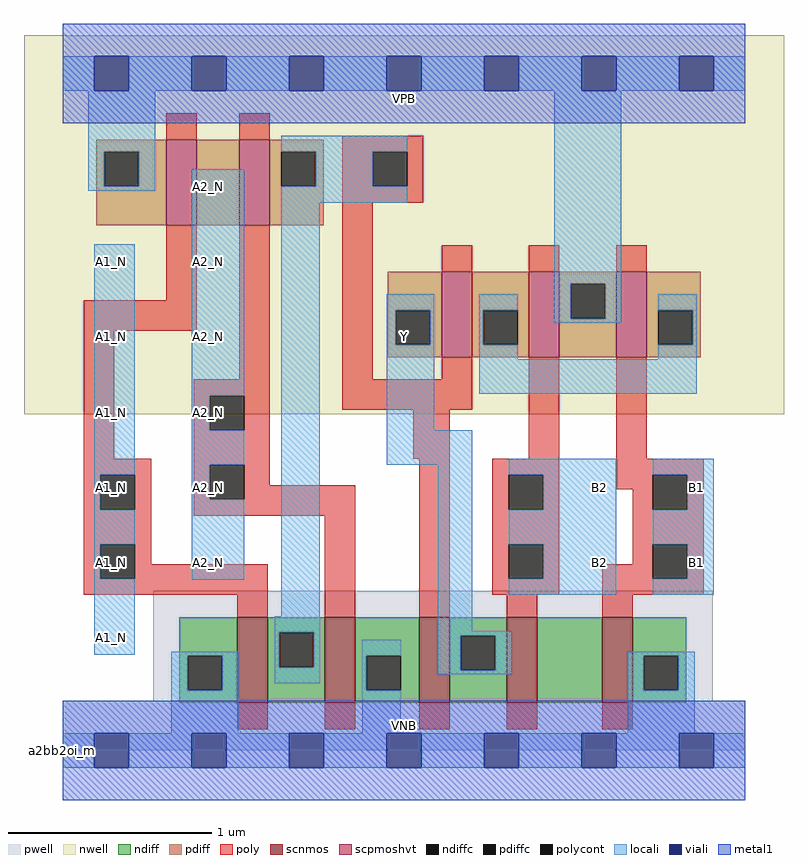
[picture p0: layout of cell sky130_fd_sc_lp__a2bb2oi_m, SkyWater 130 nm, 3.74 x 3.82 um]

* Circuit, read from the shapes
.subckt sky130_fd_sc_lp__a2bb2oi_m A1_N A2_N B1 B2 VGND VNB VPB VPWR Y
XM1 n1 A1_N VGND VNB sky130_fd_pr__nfet_01v8 w=0.42 l=0.15
XM2 VGND A2_N n1 VNB sky130_fd_pr__nfet_01v8 w=0.42 l=0.15
XM3 Y n1 VGND VNB sky130_fd_pr__nfet_01v8 w=0.42 l=0.15
XM4 n2 B2 Y VNB sky130_fd_pr__nfet_01v8 w=0.42 l=0.15
XM5 VGND B1 n2 VNB sky130_fd_pr__nfet_01v8 w=0.42 l=0.15
XM6 n3 A1_N VPWR VPB sky130_fd_pr__pfet_01v8_hvt w=0.42 l=0.15
XM7 n1 A2_N n3 VPB sky130_fd_pr__pfet_01v8_hvt w=0.42 l=0.15
XM8 n4 n1 Y VPB sky130_fd_pr__pfet_01v8_hvt w=0.42 l=0.15
XM9 VPWR B2 n4 VPB sky130_fd_pr__pfet_01v8_hvt w=0.42 l=0.15
XM10 n4 B1 VPWR VPB sky130_fd_pr__pfet_01v8_hvt w=0.42 l=0.15
.ends

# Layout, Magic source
magic
tech sky130A
magscale 1 2
<< nwell >>
rect -38 331 710 704
<< pwell >>
rect 89 49 640 157
rect 0 0 672 49
<< scnmos >>
rect 172 47 202 131
rect 258 47 288 131
rect 351 47 381 131
rect 437 47 467 131
rect 531 47 561 131
<< scpmoshvt >>
rect 102 517 132 601
rect 174 517 204 601
rect 373 387 403 471
rect 459 387 489 471
rect 545 387 575 471
<< ndiff >>
rect 115 93 172 131
rect 115 59 123 93
rect 157 59 172 93
rect 115 47 172 59
rect 202 116 258 131
rect 202 82 213 116
rect 247 82 258 116
rect 202 47 258 82
rect 288 93 351 131
rect 288 59 299 93
rect 333 59 351 93
rect 288 47 351 59
rect 381 113 437 131
rect 381 79 392 113
rect 426 79 437 113
rect 381 47 437 79
rect 467 47 531 131
rect 561 93 614 131
rect 561 59 572 93
rect 606 59 614 93
rect 561 47 614 59
<< pdiff >>
rect 33 589 102 601
rect 33 555 41 589
rect 75 555 102 589
rect 33 517 102 555
rect 132 517 174 601
rect 204 589 257 601
rect 204 555 215 589
rect 249 555 257 589
rect 204 517 257 555
rect 320 433 373 471
rect 320 399 328 433
rect 362 399 373 433
rect 320 387 373 399
rect 403 433 459 471
rect 403 399 414 433
rect 448 399 459 433
rect 403 387 459 399
rect 489 459 545 471
rect 489 425 500 459
rect 534 425 545 459
rect 489 387 545 425
rect 575 433 628 471
rect 575 399 586 433
rect 620 399 628 433
rect 575 387 628 399
<< ndiffc >>
rect 123 59 157 93
rect 213 82 247 116
rect 299 59 333 93
rect 392 79 426 113
rect 572 59 606 93
<< pdiffc >>
rect 41 555 75 589
rect 215 555 249 589
rect 328 399 362 433
rect 414 399 448 433
rect 500 425 534 459
rect 586 399 620 433
<< poly >>
rect 102 601 132 627
rect 174 601 204 627
rect 275 589 355 605
rect 275 555 305 589
rect 339 555 355 589
rect 275 539 355 555
rect 102 443 132 517
rect 21 413 132 443
rect 21 287 51 413
rect 174 365 204 517
rect 129 349 204 365
rect 129 315 145 349
rect 179 315 204 349
rect 275 365 305 539
rect 373 471 403 497
rect 459 471 489 497
rect 545 471 575 497
rect 373 365 403 387
rect 275 335 403 365
rect 21 271 87 287
rect 21 237 37 271
rect 71 237 87 271
rect 21 203 87 237
rect 129 281 204 315
rect 345 287 381 335
rect 459 287 489 387
rect 129 247 145 281
rect 179 261 204 281
rect 179 247 288 261
rect 129 231 288 247
rect 21 169 37 203
rect 71 183 87 203
rect 71 169 202 183
rect 21 153 202 169
rect 172 131 202 153
rect 258 131 288 231
rect 351 131 381 287
rect 423 271 489 287
rect 423 237 439 271
rect 473 237 489 271
rect 545 287 575 387
rect 545 271 631 287
rect 545 257 581 271
rect 423 203 489 237
rect 423 169 439 203
rect 473 169 489 203
rect 561 237 581 257
rect 615 237 631 271
rect 561 203 631 237
rect 561 183 581 203
rect 423 153 489 169
rect 531 169 581 183
rect 615 169 631 203
rect 531 153 631 169
rect 437 131 467 153
rect 531 131 561 153
rect 172 21 202 47
rect 258 21 288 47
rect 351 21 381 47
rect 437 21 467 47
rect 531 21 561 47
<< polycont >>
rect 305 555 339 589
rect 145 315 179 349
rect 37 237 71 271
rect 145 247 179 281
rect 37 169 71 203
rect 439 237 473 271
rect 439 169 473 203
rect 581 237 615 271
rect 581 169 615 203
<< locali >>
rect 0 649 31 683
rect 65 649 127 683
rect 161 649 223 683
rect 257 649 319 683
rect 353 649 415 683
rect 449 649 511 683
rect 545 649 607 683
rect 641 649 672 683
rect 25 589 91 649
rect 25 555 41 589
rect 75 555 91 589
rect 215 589 339 605
rect 25 551 91 555
rect 31 271 71 498
rect 31 237 37 271
rect 31 203 71 237
rect 31 169 37 203
rect 31 94 71 169
rect 127 349 179 572
rect 127 315 145 349
rect 127 281 179 315
rect 127 247 145 281
rect 127 168 179 247
rect 249 555 305 589
rect 215 539 339 555
rect 215 132 253 539
rect 484 459 550 649
rect 319 433 366 449
rect 319 399 328 433
rect 362 399 366 433
rect 319 315 366 399
rect 410 433 448 449
rect 410 399 414 433
rect 484 425 500 459
rect 534 425 550 459
rect 484 421 550 425
rect 586 433 624 449
rect 410 385 448 399
rect 620 399 624 433
rect 586 385 624 399
rect 410 351 624 385
rect 319 281 403 315
rect 209 116 253 132
rect 107 93 173 97
rect 107 59 123 93
rect 157 59 173 93
rect 209 82 213 116
rect 247 82 253 116
rect 369 117 403 281
rect 439 271 545 287
rect 473 237 545 271
rect 439 203 545 237
rect 473 169 545 203
rect 439 153 545 169
rect 581 271 641 287
rect 615 237 641 271
rect 581 203 641 237
rect 615 169 641 203
rect 581 153 641 169
rect 369 113 442 117
rect 209 66 253 82
rect 295 93 333 109
rect 107 17 173 59
rect 295 59 299 93
rect 369 79 392 113
rect 426 79 442 113
rect 369 75 442 79
rect 556 93 622 97
rect 295 17 333 59
rect 556 59 572 93
rect 606 59 622 93
rect 556 17 622 59
rect 0 -17 31 17
rect 65 -17 127 17
rect 161 -17 223 17
rect 257 -17 319 17
rect 353 -17 415 17
rect 449 -17 511 17
rect 545 -17 607 17
rect 641 -17 672 17
<< viali >>
rect 31 649 65 683
rect 127 649 161 683
rect 223 649 257 683
rect 319 649 353 683
rect 415 649 449 683
rect 511 649 545 683
rect 607 649 641 683
rect 31 -17 65 17
rect 127 -17 161 17
rect 223 -17 257 17
rect 319 -17 353 17
rect 415 -17 449 17
rect 511 -17 545 17
rect 607 -17 641 17
<< metal1 >>
rect 0 683 672 715
rect 0 649 31 683
rect 65 649 127 683
rect 161 649 223 683
rect 257 649 319 683
rect 353 649 415 683
rect 449 649 511 683
rect 545 649 607 683
rect 641 649 672 683
rect 0 617 672 649
rect 0 17 672 49
rect 0 -17 31 17
rect 65 -17 127 17
rect 161 -17 223 17
rect 257 -17 319 17
rect 353 -17 415 17
rect 449 -17 511 17
rect 545 -17 607 17
rect 641 -17 672 17
rect 0 -49 672 -17
<< labels >>
flabel pwell s 0 0 672 49 0 FreeSans 200 0 0 0 VNB
port 6 nsew ground bidirectional
flabel nwell s 0 617 672 666 0 FreeSans 200 0 0 0 VPB
port 7 nsew power bidirectional
rlabel comment s 0 0 0 0 4 a2bb2oi_m
flabel metal1 s 0 617 672 666 0 FreeSans 340 0 0 0 VPWR
port 8 nsew power bidirectional
flabel metal1 s 0 0 672 49 0 FreeSans 340 0 0 0 VGND
port 5 nsew ground bidirectional
flabel locali s 31 94 65 128 0 FreeSans 340 0 0 0 A1_N
port 1 nsew signal input
flabel locali s 31 168 65 202 0 FreeSans 340 0 0 0 A1_N
port 1 nsew signal input
flabel locali s 31 242 65 276 0 FreeSans 340 0 0 0 A1_N
port 1 nsew signal input
flabel locali s 31 316 65 350 0 FreeSans 340 0 0 0 A1_N
port 1 nsew signal input
flabel locali s 31 390 65 424 0 FreeSans 340 0 0 0 A1_N
port 1 nsew signal input
flabel locali s 31 464 65 498 0 FreeSans 340 0 0 0 A1_N
port 1 nsew signal input
flabel locali s 127 168 161 202 0 FreeSans 340 0 0 0 A2_N
port 2 nsew signal input
flabel locali s 127 242 161 276 0 FreeSans 340 0 0 0 A2_N
port 2 nsew signal input
flabel locali s 127 316 161 350 0 FreeSans 340 0 0 0 A2_N
port 2 nsew signal input
flabel locali s 127 390 161 424 0 FreeSans 340 0 0 0 A2_N
port 2 nsew signal input
flabel locali s 127 464 161 498 0 FreeSans 340 0 0 0 A2_N
port 2 nsew signal input
flabel locali s 127 538 161 572 0 FreeSans 340 0 0 0 A2_N
port 2 nsew signal input
flabel locali s 607 168 641 202 0 FreeSans 340 0 0 0 B1
port 3 nsew signal input
flabel locali s 607 242 641 276 0 FreeSans 340 0 0 0 B1
port 3 nsew signal input
flabel locali s 511 168 545 202 0 FreeSans 340 0 0 0 B2
port 4 nsew signal input
flabel locali s 511 242 545 276 0 FreeSans 340 0 0 0 B2
port 4 nsew signal input
flabel locali s 319 390 353 424 0 FreeSans 340 0 0 0 Y
port 9 nsew signal output
<< properties >>
string LEFsite unit
string LEFclass CORE
string FIXED_BBOX 0 0 672 666
string GDS_FILE $PDKPATH/libs.ref/sky130_fd_sc_lp/gds/sky130_fd_sc_lp.gds
string LEFsymmetry X Y R90
string GDS_END 3069306
string GDS_START 3061860
<< end >>
